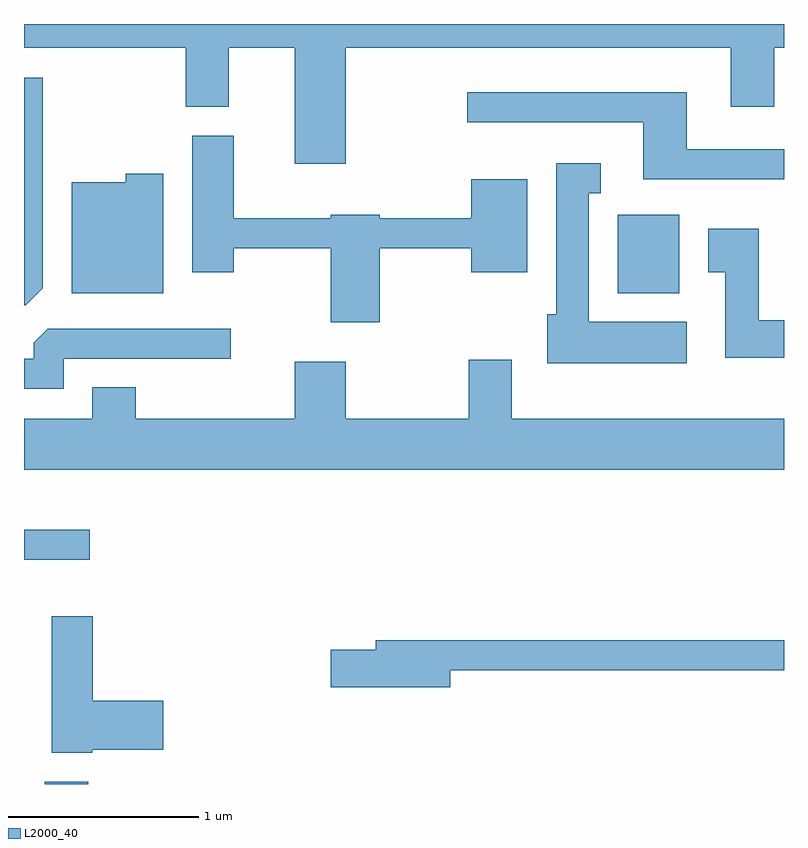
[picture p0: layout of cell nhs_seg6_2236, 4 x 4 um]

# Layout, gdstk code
import gdstk
lib = gdstk.Library(unit=1e-6, precision=1e-09)
def R(c, l, rs):  # rectangles x0, y0, x1, y1
    for r in rs: c.add(gdstk.rectangle(r[:2], r[2:], *l))
def P(c, l, *ps):  # polygons
    for p in ps: c.add(gdstk.Polygon(p, *l))
L2000_40 = (2000, 40)

nhs_seg6_2236 = lib.new_cell('nhs_seg6_2236')
R(nhs_seg6_2236, L2000_40, [(253.721,1546.162,253.949,1546.174), (253.611,1547.341,253.958,1547.499), (256.736,1548.746,257.059,1549.159)])
P(nhs_seg6_2236, L2000_40, [(255.304,1550.036),(257.331,1550.036),(257.331,1549.726),(257.559,1549.726),(257.559,1550.036),(257.611,1550.036),(257.611,1550.162),(253.611,1550.162),(253.611,1550.036),(254.461,1550.036),(254.461,1549.726),(254.689,1549.726),(254.689,1550.036),(255.036,1550.036),(255.036,1549.426),(255.304,1549.426)],
  [(253.709,1548.772),(253.709,1549.879),(253.611,1549.879),(253.611,1548.681),(253.619,1548.681)],
  [(257.611,1549.504),(257.099,1549.504),(257.099,1549.804),(255.943,1549.804),(255.943,1549.646),(256.871,1549.646),(256.871,1549.346),(257.611,1549.346)],
  [(255.484,1548.981),(255.966,1548.981),(255.966,1548.856),(256.259,1548.856),(256.259,1549.344),(255.966,1549.344),(255.966,1549.139),(255.484,1549.139),(255.484,1549.159),(255.226,1549.159),(255.226,1549.139),(254.714,1549.139),(254.714,1549.574),(254.496,1549.574),(254.496,1548.856),(254.714,1548.856),(254.714,1548.981),(255.226,1548.981),(255.226,1548.591),(255.484,1548.591)],
  [(257.099,1548.594),(256.584,1548.594),(256.584,1549.271),(256.647,1549.271),(256.647,1549.429),(256.411,1549.429),(256.411,1548.634),(256.366,1548.634),(256.366,1548.376),(257.099,1548.376)],
  [(254.344,1549.374),(254.146,1549.374),(254.146,1549.329),(253.861,1549.329),(253.861,1548.746),(254.344,1548.746)],
  [(257.611,1548.604),(257.479,1548.604),(257.479,1549.084),(257.211,1549.084),(257.211,1548.856),(257.301,1548.856),(257.301,1548.406),(257.611,1548.406)],
  [(253.819,1548.401),(254.698,1548.401),(254.698,1548.559),(253.737,1548.559),(253.661,1548.484),(253.661,1548.399),(253.611,1548.399),(253.611,1548.241),(253.819,1548.241)],
  [(257.611,1548.084),(256.179,1548.084),(256.179,1548.394),(255.951,1548.394),(255.951,1548.084),(255.304,1548.084),(255.304,1548.384),(255.036,1548.384),(255.036,1548.084),(254.199,1548.084),(254.199,1548.249),(253.971,1548.249),(253.971,1548.084),(253.611,1548.084),(253.611,1547.816),(257.611,1547.816)],
  [(253.97,1546.341),(254.344,1546.341),(254.344,1546.599),(253.974,1546.599),(253.974,1547.044),(253.756,1547.044),(253.756,1546.326),(253.97,1546.326)],
  [(255.854,1546.761),(257.611,1546.761),(257.611,1546.919),(255.461,1546.919),(255.461,1546.869),(255.226,1546.869),(255.226,1546.671),(255.854,1546.671)])

lib.write_gds('nhs_seg6_2236.gds')
